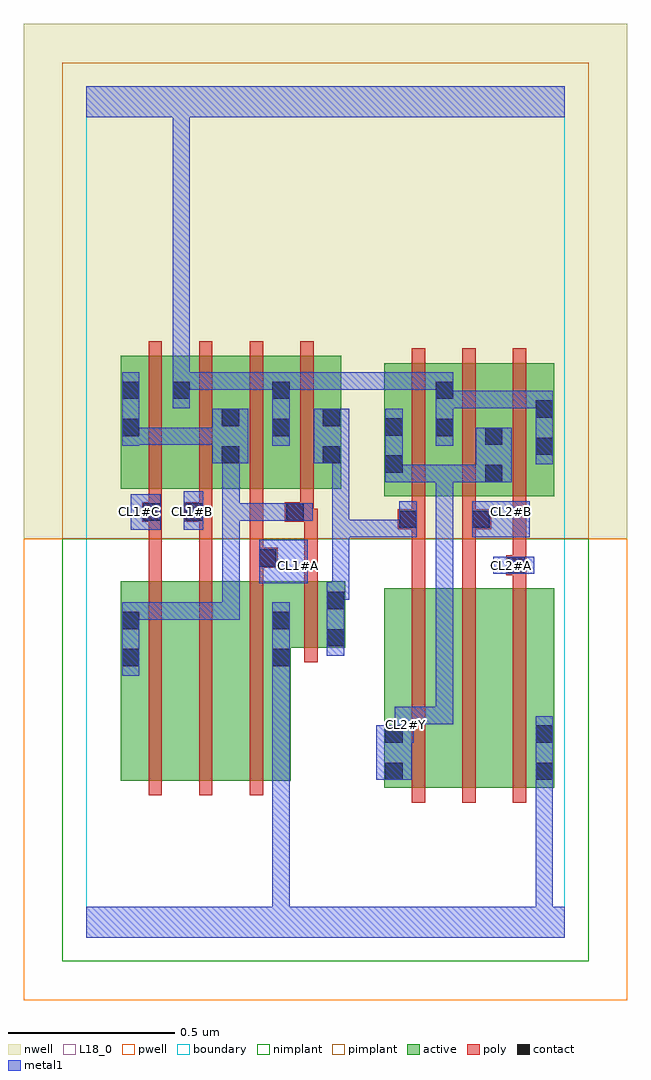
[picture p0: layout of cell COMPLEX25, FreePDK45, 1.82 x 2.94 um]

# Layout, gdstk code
import gdstk
lib = gdstk.Library(unit=1e-6, precision=1e-09)
def R(c, l, rs):  # rectangles x0, y0, x1, y1
    for r in rs: c.add(gdstk.rectangle(r[:2], r[2:], *l))
def A(c, l, x, y, w, h, nx, ny, dx, dy):  # array of equal rectangles
    R(c, l, [(x+i*dx, y+j*dy, x+i*dx+w, y+j*dy+h) for i in range(nx) for j in range(ny)])
active = (1, 0)
pwell = (2, 0)
nwell = (3, 0)
nimplant = (4, 0)
pimplant = (5, 0)
poly = (9, 0)
contact = (10, 0)
metal1 = (11, 0)
L18_0 = (18, 0)
boundary = (235, 0)

complex25 = lib.new_cell('COMPLEX25')
R(complex25, active, [(0.896,0.45,0.956,1.05), (0.896,0.45,1.076,1.05), (1.076,0.45,1.228,1.05), (1.228,0.45,1.408,1.05), (1.348,0.45,1.408,1.05), (0.104,0.472,0.284,1.072), (0.284,0.472,0.436,1.072), (0.436,0.472,0.616,1.072), (0.556,0.472,0.616,0.984), (0.104,0.556,0.164,1.072), (0.556,0.872,0.78,1.072), (0.72,0.872,0.78,1.072), (0.896,1.328,0.956,1.644), (0.896,1.328,1.108,1.728), (1.048,1.328,1.256,1.728), (1.048,1.328,1.108,1.676), (1.196,1.328,1.256,1.644), (1.196,1.328,1.408,1.728), (1.348,1.328,1.408,1.644), (0.104,1.35,0.316,1.75), (0.104,1.35,0.164,1.676), (0.256,1.35,0.464,1.75), (0.256,1.35,0.316,1.676), (0.404,1.35,0.616,1.75), (0.404,1.35,0.464,1.644), (0.556,1.35,0.768,1.75), (0.556,1.35,0.616,1.676), (0.708,1.35,0.768,1.644)])
R(complex25, pwell, [(-0.188,-0.188,1.628,1.2)])
R(complex25, nwell, [(-0.188,1.2,1.628,2.748)])
R(complex25, nimplant, [(-0.072,-0.072,1.512,1.2)])
R(complex25, pimplant, [(-0.072,1.2,1.512,2.632)])
A(complex25, poly, 0.98, 0.406, 0.04, 0.688, 3, 1, 0.152, 0)
A(complex25, poly, 0.188, 0.428, 0.04, 0.688, 3, 1, 0.152, 0)
A(complex25, poly, 0.98, 1.284, 0.04, 0.488, 3, 1, 0.152, 0)
A(complex25, poly, 0.188, 1.306, 0.04, 0.488, 4, 1, 0.152, 0)
R(complex25, poly, [(0.656,0.828,0.696,1.116), (0.98,1.054,1.02,1.268), (1.132,1.054,1.172,1.268), (1.284,1.054,1.324,1.13), (0.188,1.076,0.228,1.29), (0.34,1.076,0.38,1.29), (0.492,1.076,0.532,1.152), (0.656,1.076,0.696,1.29), (1.264,1.09,1.324,1.15), (1.284,1.11,1.324,1.324), (1.284,1.11,1.324,1.15), (1.284,1.11,1.324,1.15), (0.492,1.112,0.576,1.172), (0.492,1.132,0.532,1.346), (0.492,1.132,0.532,1.172), (0.492,1.132,0.532,1.172), (0.938,1.228,1.02,1.288), (0.98,1.228,1.02,1.268), (0.98,1.228,1.02,1.268), (1.132,1.228,1.172,1.268), (1.132,1.228,1.172,1.268), (1.132,1.228,1.218,1.288), (0.98,1.248,1.02,1.324), (1.132,1.248,1.172,1.324), (0.168,1.25,0.228,1.31), (0.188,1.25,0.228,1.29), (0.188,1.25,0.228,1.29), (0.296,1.25,0.38,1.31), (0.34,1.25,0.38,1.29), (0.34,1.25,0.38,1.29), (0.598,1.25,0.684,1.31), (0.644,1.25,0.684,1.29), (0.644,1.25,0.696,1.29), (0.188,1.27,0.228,1.346), (0.34,1.27,0.38,1.346), (0.644,1.27,0.684,1.346)])
R(complex25, contact, [(0.9,0.474,0.952,0.526), (1.352,0.474,1.404,0.526), (0.9,0.586,0.952,0.638), (1.352,0.586,1.404,0.638), (0.108,0.816,0.16,0.868), (0.56,0.816,0.612,0.868), (0.724,0.876,0.776,0.928), (0.108,0.928,0.16,0.98), (0.56,0.928,0.612,0.98), (0.724,0.988,0.776,1.04), (1.268,1.094,1.32,1.146), (0.52,1.116,0.572,1.168), (0.942,1.232,0.994,1.284), (1.162,1.232,1.214,1.284), (0.172,1.254,0.224,1.306), (0.3,1.254,0.352,1.306), (0.602,1.254,0.654,1.306), (1.2,1.37,1.252,1.422), (0.9,1.398,0.952,1.45), (0.408,1.426,0.46,1.478), (0.712,1.426,0.764,1.478), (1.352,1.452,1.404,1.504), (1.2,1.482,1.252,1.534), (0.108,1.508,0.16,1.56), (0.56,1.508,0.612,1.56), (1.052,1.508,1.104,1.56), (0.9,1.51,0.952,1.562), (0.408,1.538,0.46,1.59), (0.712,1.538,0.764,1.59), (1.352,1.564,1.404,1.616), (0.108,1.62,0.16,1.672), (0.26,1.62,0.312,1.672), (0.56,1.62,0.612,1.672), (1.052,1.62,1.104,1.672)])
R(complex25, metal1, [(0,0,1.44,0.092), (0.56,0.04,0.612,0.092), (0.56,0.04,0.612,0.092), (0.56,0.04,0.612,0.092), (0.56,0.04,0.612,0.092), (0.56,0.04,0.612,0.092), (0.56,0.04,0.612,0.092), (0.56,0.04,0.612,0.092), (0.56,0.04,0.612,0.092), (0.56,0.04,0.612,0.84), (1.352,0.04,1.404,0.092), (1.352,0.04,1.404,0.092), (1.352,0.04,1.404,0.092), (1.352,0.04,1.404,0.092), (1.352,0.04,1.404,0.092), (1.352,0.04,1.404,0.092), (1.352,0.04,1.404,0.498), (1.352,0.446,1.404,0.498), (1.352,0.446,1.404,0.498), (1.352,0.446,1.404,0.666), (0.872,0.474,0.98,0.638), (0.928,0.586,0.98,0.638), (0.928,0.586,0.986,0.694), (0.934,0.642,0.986,0.694), (0.934,0.642,0.986,0.694), (0.934,0.642,1.104,0.694), (1.052,0.642,1.104,0.694), (1.052,0.642,1.104,1.422), (0.108,0.788,0.16,1.008), (0.56,0.788,0.612,1.008), (0.724,0.848,0.776,1.068), (0.108,0.956,0.16,1.008), (0.108,0.956,0.16,1.008), (0.108,0.956,0.322,1.008), (0.27,0.956,0.322,1.008), (0.27,0.956,0.322,1.008), (0.27,0.956,0.322,1.008), (0.27,0.956,0.462,1.008), (0.41,0.956,0.462,1.008), (0.41,0.956,0.462,1.306), (0.724,1.016,0.776,1.068), (0.724,1.016,0.792,1.068), (0.74,1.016,0.792,1.256), (0.52,1.066,0.666,1.196), (1.224,1.094,1.348,1.146), (0.74,1.204,0.792,1.256), (0.74,1.204,0.994,1.256), (0.74,1.204,0.792,1.478), (0.942,1.204,0.994,1.256), (0.942,1.204,0.994,1.256), (0.942,1.204,0.994,1.312), (1.162,1.204,1.334,1.312), (0.134,1.226,0.224,1.334), (0.294,1.226,0.352,1.342), (0.41,1.254,0.462,1.306), (0.41,1.254,0.462,1.306), (0.41,1.254,0.462,1.306), (0.41,1.254,0.462,1.306), (0.41,1.254,0.462,1.306), (0.41,1.254,0.626,1.306), (0.41,1.254,0.462,1.478), (0.574,1.254,0.626,1.306), (0.574,1.254,0.626,1.306), (0.574,1.254,0.682,1.306), (0.9,1.37,0.952,1.422), (0.9,1.37,0.952,1.422), (0.9,1.37,0.952,1.59), (0.9,1.37,1.104,1.422), (1.052,1.37,1.104,1.422), (1.052,1.37,1.104,1.422), (1.052,1.37,1.104,1.422), (1.052,1.37,1.104,1.422), (1.052,1.37,1.104,1.422), (1.052,1.37,1.224,1.422), (1.172,1.37,1.28,1.534), (1.352,1.424,1.404,1.644), (0.38,1.426,0.488,1.59), (0.684,1.426,0.792,1.59), (0.108,1.48,0.16,1.7), (0.56,1.48,0.612,1.7), (1.052,1.48,1.104,1.7), (0.108,1.482,0.16,1.534), (0.108,1.482,0.16,1.534), (0.108,1.482,0.322,1.534), (0.27,1.482,0.322,1.534), (0.27,1.482,0.322,1.534), (0.27,1.482,0.322,1.534), (0.27,1.482,0.432,1.534), (0.26,1.592,0.312,1.7), (1.052,1.592,1.104,1.644), (1.052,1.592,1.104,1.644), (1.052,1.592,1.294,1.644), (1.242,1.592,1.294,1.644), (1.242,1.592,1.404,1.644), (1.352,1.592,1.404,1.644), (1.352,1.592,1.404,1.644), (0.26,1.648,0.312,1.7), (0.26,1.648,0.312,1.7), (0.26,1.648,0.312,1.7), (0.26,1.648,0.312,1.7), (0.26,1.648,0.462,1.7), (0.26,1.648,0.312,2.52), (0.41,1.648,0.462,1.7), (0.41,1.648,0.462,1.7), (0.41,1.648,0.462,1.7), (0.41,1.648,0.612,1.7), (0.56,1.648,0.612,1.7), (0.56,1.648,0.612,1.7), (0.56,1.648,0.792,1.7), (0.74,1.648,0.792,1.7), (0.74,1.648,0.902,1.7), (0.85,1.648,0.902,1.7), (0.85,1.648,0.902,1.7), (0.85,1.648,0.902,1.7), (0.85,1.648,1.104,1.7), (0,2.468,1.44,2.56), (0.26,2.468,0.312,2.52), (0.26,2.468,0.312,2.52), (0.26,2.468,0.312,2.52), (0.26,2.468,0.312,2.52), (0.26,2.468,0.312,2.52), (0.26,2.468,0.312,2.52), (0.26,2.468,0.312,2.52), (0.26,2.468,0.312,2.52), (0.26,2.468,0.312,2.52), (0.26,2.468,0.312,2.52), (0.26,2.468,0.312,2.52), (0.26,2.468,0.312,2.52), (0.26,2.468,0.312,2.52), (0.26,2.468,0.312,2.52)])
R(complex25, L18_0, [(0,0,1.44,0.092), (0.56,0.04,0.612,0.092), (0.56,0.04,0.612,0.092), (0.56,0.04,0.612,0.092), (0.56,0.04,0.612,0.092), (0.56,0.04,0.612,0.092), (0.56,0.04,0.612,0.092), (0.56,0.04,0.612,0.092), (0.56,0.04,0.612,0.092), (0.56,0.04,0.612,0.84), (1.352,0.04,1.404,0.092), (1.352,0.04,1.404,0.092), (1.352,0.04,1.404,0.092), (1.352,0.04,1.404,0.092), (1.352,0.04,1.404,0.092), (1.352,0.04,1.404,0.092), (1.352,0.04,1.404,0.498), (1.352,0.446,1.404,0.498), (1.352,0.446,1.404,0.498), (1.352,0.446,1.404,0.666), (0.872,0.474,0.98,0.638), (0.928,0.586,0.98,0.638), (0.928,0.586,0.986,0.694), (0.934,0.614,0.986,0.666), (0.934,0.642,0.986,0.694), (0.934,0.642,0.986,0.694), (0.934,0.642,1.104,0.694), (1.052,0.642,1.104,0.694), (1.052,0.642,1.104,1.422), (0.56,0.788,0.612,1.008), (0.52,1.066,0.666,1.196), (0.614,1.094,0.666,1.146), (1.224,1.094,1.348,1.146), (1.254,1.094,1.306,1.146), (1.162,1.204,1.334,1.312), (0.134,1.226,0.224,1.334), (0.294,1.226,0.352,1.342), (0.134,1.254,0.186,1.306), (0.294,1.254,0.346,1.306), (1.254,1.254,1.306,1.306), (0.9,1.37,0.952,1.422), (0.9,1.37,0.952,1.422), (0.9,1.37,0.952,1.59), (0.9,1.37,1.104,1.422), (1.052,1.37,1.104,1.422), (1.052,1.37,1.104,1.422), (1.052,1.37,1.104,1.422), (1.052,1.37,1.104,1.422), (1.052,1.37,1.104,1.422), (1.052,1.37,1.224,1.422), (1.172,1.37,1.28,1.534), (1.352,1.424,1.404,1.644), (0.56,1.48,0.612,1.7), (1.052,1.48,1.104,1.7), (0.26,1.592,0.312,1.7), (1.052,1.592,1.104,1.644), (1.052,1.592,1.104,1.644), (1.052,1.592,1.294,1.644), (1.242,1.592,1.294,1.644), (1.242,1.592,1.404,1.644), (1.352,1.592,1.404,1.644), (1.352,1.592,1.404,1.644), (0.26,1.648,0.312,1.7), (0.26,1.648,0.312,1.7), (0.26,1.648,0.312,1.7), (0.26,1.648,0.312,1.7), (0.26,1.648,0.312,2.52), (0.26,1.648,0.462,1.7), (0.41,1.648,0.462,1.7), (0.41,1.648,0.462,1.7), (0.41,1.648,0.462,1.7), (0.41,1.648,0.612,1.7), (0.56,1.648,0.612,1.7), (0.56,1.648,0.612,1.7), (0.56,1.648,0.792,1.7), (0.74,1.648,0.792,1.7), (0.74,1.648,0.902,1.7), (0.85,1.648,0.902,1.7), (0.85,1.648,0.902,1.7), (0.85,1.648,0.902,1.7), (0.85,1.648,1.104,1.7), (0,2.468,1.44,2.56), (0.26,2.468,0.312,2.52), (0.26,2.468,0.312,2.52), (0.26,2.468,0.312,2.52), (0.26,2.468,0.312,2.52), (0.26,2.468,0.312,2.52), (0.26,2.468,0.312,2.52), (0.26,2.468,0.312,2.52), (0.26,2.468,0.312,2.52), (0.26,2.468,0.312,2.52), (0.26,2.468,0.312,2.52), (0.26,2.468,0.312,2.52), (0.26,2.468,0.312,2.52), (0.26,2.468,0.312,2.52), (0.26,2.468,0.312,2.52)])
R(complex25, boundary, [(0,0,1.44,2.56)])
complex25.add(gdstk.Label('CL1#A', (0.64,1.12), layer=11, texttype=0))
complex25.add(gdstk.Label('CL1#B', (0.32,1.28), layer=11, texttype=0))
complex25.add(gdstk.Label('CL1#C', (0.16,1.28), layer=11, texttype=0))
complex25.add(gdstk.Label('CL2#A', (1.28,1.12), layer=11, texttype=0))
complex25.add(gdstk.Label('CL2#B', (1.28,1.28), layer=11, texttype=0))
complex25.add(gdstk.Label('CL2#Y', (0.96,0.64), layer=11, texttype=0))

lib.write_gds('COMPLEX25.gds')
